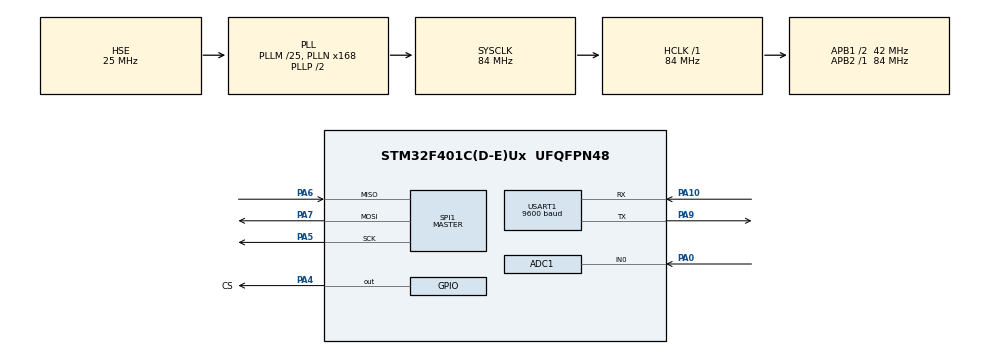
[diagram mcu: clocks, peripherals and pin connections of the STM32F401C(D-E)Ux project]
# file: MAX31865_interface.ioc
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ADC1.Channel-0\#ChannelRegularConversion=ADC_CHANNEL_0
ADC1.ContinuousConvMode=DISABLE
ADC1.DMAContinuousRequests=ENABLE
ADC1.ExternalTrigConv=ADC_EXTERNALTRIGCONV_T2_TRGO
ADC1.NbrOfConversion=1
ADC1.NbrOfConversionFlag=1
ADC1.Rank-0\#ChannelRegularConversion=1
ADC1.Resolution=ADC_RESOLUTION_10B
ADC1.SamplingTime-0\#ChannelRegularConversion=ADC_SAMPLETIME_3CYCLES
ADC1.master=1
Dma.ADC1.0.Direction=DMA_PERIPH_TO_MEMORY
Dma.ADC1.0.FIFOMode=DMA_FIFOMODE_DISABLE
Dma.ADC1.0.Instance=DMA2_Stream0
Dma.ADC1.0.MemDataAlignment=DMA_MDATAALIGN_HALFWORD
Dma.ADC1.0.MemInc=DMA_MINC_ENABLE
Dma.ADC1.0.Mode=DMA_CIRCULAR
Dma.ADC1.0.PeriphDataAlignment=DMA_PDATAALIGN_HALFWORD
Dma.ADC1.0.PeriphInc=DMA_PINC_DISABLE
Dma.ADC1.0.Priority=DMA_PRIORITY_LOW
Dma.Request0=ADC1
Mcu.Family=STM32F4
Mcu.Name=STM32F401C(D-E)Ux
Mcu.Package=UFQFPN48
NVIC.DMA2_Stream0_IRQn=true\:0\:0\:false\:false\:true\:false\:true\:true
NVIC.PriorityGroup=NVIC_PRIORITYGROUP_4
PA0-WKUP.Signal=ADCx_IN0
PA10.Mode=Asynchronous
PA10.Signal=USART1_RX
PA4.GPIO_Label=CS
PA4.Signal=GPIO_Output
PA5.Mode=Full_Duplex_Master
PA5.Signal=SPI1_SCK
PA6.Mode=Full_Duplex_Master
PA6.Signal=SPI1_MISO
PA7.Mode=Full_Duplex_Master
PA7.Signal=SPI1_MOSI
PA9.Mode=Asynchronous
PA9.Signal=USART1_TX
PH0\ -\ OSC_IN.Mode=HSE-External-Oscillator
PH0\ -\ OSC_IN.Signal=RCC_OSC_IN
PH1\ -\ OSC_OUT.Mode=HSE-External-Oscillator
PH1\ -\ OSC_OUT.Signal=RCC_OSC_OUT
ProjectManager.HeapSize=0x200
ProjectManager.StackSize=0x400
ProjectManager.TargetToolchain=STM32CubeIDE
RCC.48MHZClocksFreq_Value=42000000
RCC.AHBFreq_Value=84000000
RCC.APB1CLKDivider=RCC_HCLK_DIV2
RCC.APB1Freq_Value=42000000
RCC.APB1TimFreq_Value=84000000
RCC.APB2Freq_Value=84000000
RCC.APB2TimFreq_Value=84000000
RCC.CortexFreq_Value=84000000
RCC.HCLKFreq_Value=84000000
RCC.HSE_VALUE=25000000
RCC.HSI_VALUE=16000000
RCC.LSE_VALUE=32768
RCC.PLLM=25
RCC.PLLN=168
RCC.PLLSourceVirtual=RCC_PLLSOURCE_HSE
RCC.SYSCLKFreq_VALUE=84000000
RCC.SYSCLKSource=RCC_SYSCLKSOURCE_PLLCLK
RCC.VCOOutputFreq_Value=168000000
SH.ADCx_IN0.0=ADC1_IN0,IN0
SPI1.BaudRatePrescaler=SPI_BAUDRATEPRESCALER_128
SPI1.Direction=SPI_DIRECTION_2LINES
SPI1.Mode=SPI_MODE_MASTER
SPI1.VirtualType=VM_MASTER
TIM2.Channel-PWM\ Generation1\ No\ Output=TIM_CHANNEL_1
TIM2.Period=173
TIM2.TIM_MasterOutputTrigger=TIM_TRGO_UPDATE
USART1.BaudRate=9600
USART1.Mode=MODE_TX_RX
USART1.VirtualMode=VM_ASYNC
VP_TIM2_VS_no_output1.Mode=PWM Generation1 No Output
board=custom

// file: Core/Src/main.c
/* USER CODE BEGIN Header */
/**
  ******************************************************************************
  * @file           : main.c
  * @brief          : Main program body
  ******************************************************************************
  * @attention
  *
  * Copyright (c) 2026 STMicroelectronics.
  * All rights reserved.
  *
  * This software is licensed under terms that can be found in the LICENSE file
  * in the root directory of this software component.
  * If no LICENSE file comes with this software, it is provided AS-IS.
  *
  ******************************************************************************
  */
/* USER CODE END Header */
#include "main.h"

/* USER CODE BEGIN Includes */
#include"MAX31865.h"
#include<stdio.h>
#include<string.h>
/* USER CODE END Includes */

/* USER CODE BEGIN PD */
#define PREF 430.0    // Reference resistor value in ohms
#define RNOMINAL 100.0 // Nominal RTD resistance at 0°C (PT100)
/* USER CODE END PD */

ADC_HandleTypeDef hadc1;
DMA_HandleTypeDef hdma_adc1;

SPI_HandleTypeDef hspi1;

TIM_HandleTypeDef htim2;

UART_HandleTypeDef huart1;

void SystemClock_Config(void);
static void MX_GPIO_Init(void);
static void MX_DMA_Init(void);
static void MX_ADC1_Init(void);
static void MX_SPI1_Init(void);
static void MX_TIM2_Init(void);
static void MX_USART1_UART_Init(void);

int main(void)
{

  /* USER CODE BEGIN 1 */
	uint16_t rtd = 0;                       // Variable to store raw RTD value
	uint8_t fault;                          // Variable to store fault status
	max31865_fault_cycle_t fault_cycle = MAX31865_FAULT_AUTO;  // Default to auto fault detection
	float ratio;                            // Variable for calculation ratios
	char MSG[30];                           // Buffer for status messages
	char buffer[50];                        // General purpose buffer

  MAX31865_HandleTypeDef device1 = {CS_GPIO_Port, CS_Pin};
  /* USER CODE END 1 */

  /* MCU Configuration--------------------------------------------------------*/

  /* Reset of all peripherals, Initializes the Flash interface and the Systick. */
  HAL_Init();

  /* Configure the system clock */
  SystemClock_Config();

  /* Initialize all configured peripherals */
  MX_GPIO_Init();
  MX_DMA_Init();
  MX_ADC1_Init();
  MX_SPI1_Init();
  MX_TIM2_Init();
  MX_USART1_UART_Init();
  /* USER CODE BEGIN 2 */
  begin(&device1, MAX31865_3WIRE);
  /* USER CODE END 2 */

  /* Infinite loop */
  while (1)
  {

    /* USER CODE BEGIN 3 */
	  rtd = readRTD(&device1);
	  ratio = rtd;
	  ratio /= 32768;  // Convert raw 15-bit value to ratio (0-1)

	  // Print raw RTD value
	  sprintf(MSG, "RTD value: %u", rtd);  // Changed %d to %u for unsigned
	  HAL_UART_Transmit(&huart1, (uint8_t*)MSG, strlen(MSG), 100);
	  HAL_UART_Transmit(&huart1, (uint8_t*)"\r\n", 2, 10);  // Fixed case and line endings

	  // Print ratio
	  sprintf(MSG, "Ratio = %.8f", ratio);
	  HAL_UART_Transmit(&huart1, (uint8_t*)MSG, strlen(MSG), 100);
	  HAL_UART_Transmit(&huart1, (uint8_t*)"\r\n", 2, 10);

	  // Print calculated resistance
	  sprintf(MSG, "Resistance = %.2f ohms", PREF * ratio);  // Changed RREF to PREF
	  HAL_UART_Transmit(&huart1, (uint8_t*)MSG, strlen(MSG), 100);
	  HAL_UART_Transmit(&huart1, (uint8_t*)"\r\n", 2, 10);

	  // Print temperature with decorative borders
	  //sprintf(MSG, "Temperature = %.2f°C", temperature(RNOMINAL, PREF));
	  sprintf(MSG, "Temperature = %.2f\xB0""C", temperature(&device1, RNOMINAL, PREF));
	  HAL_UART_Transmit(&huart1, (uint8_t*)"**********", 10, 50);
	  HAL_UART_Transmit(&huart1, (uint8_t*)MSG, strlen(MSG), 100);
	  HAL_UART_Transmit(&huart1, (uint8_t*)"**********", 10, 50);
	  HAL_UART_Transmit(&huart1, (uint8_t*)"\r\n\r\n", 4, 10);

	  // Check for faults
	  fault = readFault(&device1, fault_cycle);

	  if (fault) {
	      sprintf(buffer, "Fault 0x%02X\r\n", fault);  // Fixed format specifier
	      HAL_UART_Transmit(&huart1, (uint8_t*)buffer, strlen(buffer), 100);

	      if (fault & MAX31865_FAULT_HIGHTHRESH) {
	          sprintf(buffer, "RTD High Threshold\r\n");
	          HAL_UART_Transmit(&huart1, (uint8_t*)buffer, strlen(buffer), 100);
	      }
	      if (fault & MAX31865_FAULT_LOWTHRESH) {
	          sprintf(buffer, "RTD Low Threshold\r\n");
	          HAL_UART_Transmit(&huart1, (uint8_t*)buffer, strlen(buffer), 100);
	      }
	      if (fault & MAX31865_FAULT_REFINLOW) {
	          sprintf(buffer, "REFIN- < 0.85 x Bias\r\n");
	          HAL_UART_Transmit(&huart1, (uint8_t*)buffer, strlen(buffer), 100);
	      }
	      if (fault & MAX31865_FAULT_REFINHIGH) {
	          sprintf(buffer, "REFIN+ > 0.85 x Bias - FORCE+ open\r\n");
	          HAL_UART_Transmit(&huart1, (uint8_t*)buffer, strlen(buffer), HAL_MAX_DELAY);
	      }

	      if (fault & MAX31865_FAULT_RTDINLOW) {
	          sprintf(buffer, "RTDIN- < 0.85 x Bias - FORCE- open\r\n");
	          HAL_UART_Transmit(&huart1, (uint8_t*)buffer, strlen(buffer), HAL_MAX_DELAY);
	      }

	      if (fault & MAX31865_FAULT_OVUV) {
	          sprintf(buffer, "Under/Over voltage\r\n");
	          HAL_UART_Transmit(&huart1, (uint8_t*)buffer, strlen(buffer), HAL_MAX_DELAY);
	      }

	      clearFault(&device1);
	  }
      HAL_Delay(1000);  // Fixed delay function and reasonable delay time
  }
  /* USER CODE END 3 */
}

void SystemClock_Config(void)
{
  RCC_OscInitTypeDef RCC_OscInitStruct = {0};
  RCC_ClkInitTypeDef RCC_ClkInitStruct = {0};

  /** Configure the main internal regulator output voltage
  */
  __HAL_RCC_PWR_CLK_ENABLE();
  __HAL_PWR_VOLTAGESCALING_CONFIG(PWR_REGULATOR_VOLTAGE_SCALE2);

  /** Initializes the RCC Oscillators according to the specified parameters
  * in the RCC_OscInitTypeDef structure.
  */
  RCC_OscInitStruct.OscillatorType = RCC_OSCILLATORTYPE_HSE;
  RCC_OscInitStruct.HSEState = RCC_HSE_ON;
  RCC_OscInitStruct.PLL.PLLState = RCC_PLL_ON;
  RCC_OscInitStruct.PLL.PLLSource = RCC_PLLSOURCE_HSE;
  RCC_OscInitStruct.PLL.PLLM = 25;
  RCC_OscInitStruct.PLL.PLLN = 168;
  RCC_OscInitStruct.PLL.PLLP = RCC_PLLP_DIV2;
  RCC_OscInitStruct.PLL.PLLQ = 4;
  if (HAL_RCC_OscConfig(&RCC_OscInitStruct) != HAL_OK)
  {
    Error_Handler();
  }

  /** Initializes the CPU, AHB and APB buses clocks
  */
  RCC_ClkInitStruct.ClockType = RCC_CLOCKTYPE_HCLK|RCC_CLOCKTYPE_SYSCLK
                              |RCC_CLOCKTYPE_PCLK1|RCC_CLOCKTYPE_PCLK2;
  RCC_ClkInitStruct.SYSCLKSource = RCC_SYSCLKSOURCE_PLLCLK;
  RCC_ClkInitStruct.AHBCLKDivider = RCC_SYSCLK_DIV1;
  RCC_ClkInitStruct.APB1CLKDivider = RCC_HCLK_DIV2;
  RCC_ClkInitStruct.APB2CLKDivider = RCC_HCLK_DIV1;

  if (HAL_RCC_ClockConfig(&RCC_ClkInitStruct, FLASH_LATENCY_2) != HAL_OK)
  {
    Error_Handler();
  }
}

static void MX_ADC1_Init(void)
{

  ADC_ChannelConfTypeDef sConfig = {0};

  /** Configure the global features of the ADC (Clock, Resolution, Data Alignment and number of conversion)
  */
  hadc1.Instance = ADC1;
  hadc1.Init.ClockPrescaler = ADC_CLOCK_SYNC_PCLK_DIV4;
  hadc1.Init.Resolution = ADC_RESOLUTION_10B;
  hadc1.Init.ScanConvMode = DISABLE;
  hadc1.Init.ContinuousConvMode = DISABLE;
  hadc1.Init.DiscontinuousConvMode = DISABLE;
  hadc1.Init.ExternalTrigConvEdge = ADC_EXTERNALTRIGCONVEDGE_RISING;
  hadc1.Init.ExternalTrigConv = ADC_EXTERNALTRIGCONV_T2_TRGO;
  hadc1.Init.DataAlign = ADC_DATAALIGN_RIGHT;
  hadc1.Init.NbrOfConversion = 1;
  hadc1.Init.DMAContinuousRequests = ENABLE;
  hadc1.Init.EOCSelection = ADC_EOC_SINGLE_CONV;
  if (HAL_ADC_Init(&hadc1) != HAL_OK)
  {
    Error_Handler();
  }

  /** Configure for the selected ADC regular channel its corresponding rank in the sequencer and its sample time.
  */
  sConfig.Channel = ADC_CHANNEL_0;
  sConfig.Rank = 1;
  sConfig.SamplingTime = ADC_SAMPLETIME_3CYCLES;
  if (HAL_ADC_ConfigChannel(&hadc1, &sConfig) != HAL_OK)
  {
    Error_Handler();
  }

}

static void MX_SPI1_Init(void)
{

  /* SPI1 parameter configuration*/
  hspi1.Instance = SPI1;
  hspi1.Init.Mode = SPI_MODE_MASTER;
  hspi1.Init.Direction = SPI_DIRECTION_2LINES;
  hspi1.Init.DataSize = SPI_DATASIZE_8BIT;
  hspi1.Init.CLKPolarity = SPI_POLARITY_LOW;
  hspi1.Init.CLKPhase = SPI_PHASE_1EDGE;
  hspi1.Init.NSS = SPI_NSS_SOFT;
  hspi1.Init.BaudRatePrescaler = SPI_BAUDRATEPRESCALER_128;
  hspi1.Init.FirstBit = SPI_FIRSTBIT_MSB;
  hspi1.Init.TIMode = SPI_TIMODE_DISABLE;
  hspi1.Init.CRCCalculation = SPI_CRCCALCULATION_DISABLE;
  hspi1.Init.CRCPolynomial = 10;
  if (HAL_SPI_Init(&hspi1) != HAL_OK)
  {
    Error_Handler();
  }

}

static void MX_TIM2_Init(void)
{

  TIM_MasterConfigTypeDef sMasterConfig = {0};
  TIM_OC_InitTypeDef sConfigOC = {0};

  htim2.Instance = TIM2;
  htim2.Init.Prescaler = 0;
  htim2.Init.CounterMode = TIM_COUNTERMODE_UP;
  htim2.Init.Period = 173;
  htim2.Init.ClockDivision = TIM_CLOCKDIVISION_DIV1;
  htim2.Init.AutoReloadPreload = TIM_AUTORELOAD_PRELOAD_DISABLE;
  if (HAL_TIM_PWM_Init(&htim2) != HAL_OK)
  {
    Error_Handler();
  }
  sMasterConfig.MasterOutputTrigger = TIM_TRGO_UPDATE;
  sMasterConfig.MasterSlaveMode = TIM_MASTERSLAVEMODE_DISABLE;
  if (HAL_TIMEx_MasterConfigSynchronization(&htim2, &sMasterConfig) != HAL_OK)
  {
    Error_Handler();
  }
  sConfigOC.OCMode = TIM_OCMODE_PWM1;
  sConfigOC.Pulse = 0;
  sConfigOC.OCPolarity = TIM_OCPOLARITY_HIGH;
  sConfigOC.OCFastMode = TIM_OCFAST_DISABLE;
  if (HAL_TIM_PWM_ConfigChannel(&htim2, &sConfigOC, TIM_CHANNEL_1) != HAL_OK)
  {
    Error_Handler();
  }

}

static void MX_USART1_UART_Init(void)
{

  huart1.Instance = USART1;
  huart1.Init.BaudRate = 9600;
  huart1.Init.WordLength = UART_WORDLENGTH_8B;
  huart1.Init.StopBits = UART_STOPBITS_1;
  huart1.Init.Parity = UART_PARITY_NONE;
  huart1.Init.Mode = UART_MODE_TX_RX;
  huart1.Init.HwFlowCtl = UART_HWCONTROL_NONE;
  huart1.Init.OverSampling = UART_OVERSAMPLING_16;
  if (HAL_UART_Init(&huart1) != HAL_OK)
  {
    Error_Handler();
  }

}

static void MX_DMA_Init(void)
{

  /* DMA controller clock enable */
  __HAL_RCC_DMA2_CLK_ENABLE();

  /* DMA interrupt init */
  /* DMA2_Stream0_IRQn interrupt configuration */
  HAL_NVIC_SetPriority(DMA2_Stream0_IRQn, 0, 0);
  HAL_NVIC_EnableIRQ(DMA2_Stream0_IRQn);

}

static void MX_GPIO_Init(void)
{
  GPIO_InitTypeDef GPIO_InitStruct = {0};

  /* GPIO Ports Clock Enable */
  __HAL_RCC_GPIOH_CLK_ENABLE();
  __HAL_RCC_GPIOA_CLK_ENABLE();

  /*Configure GPIO pin Output Level */
  HAL_GPIO_WritePin(CS_GPIO_Port, CS_Pin, GPIO_PIN_RESET);

  /*Configure GPIO pin : CS_Pin */
  GPIO_InitStruct.Pin = CS_Pin;
  GPIO_InitStruct.Mode = GPIO_MODE_OUTPUT_PP;
  GPIO_InitStruct.Pull = GPIO_NOPULL;
  GPIO_InitStruct.Speed = GPIO_SPEED_FREQ_LOW;
  HAL_GPIO_Init(CS_GPIO_Port, &GPIO_InitStruct);

}

void Error_Handler(void)
{
  __disable_irq();
  while (1)
  {
  }
}
